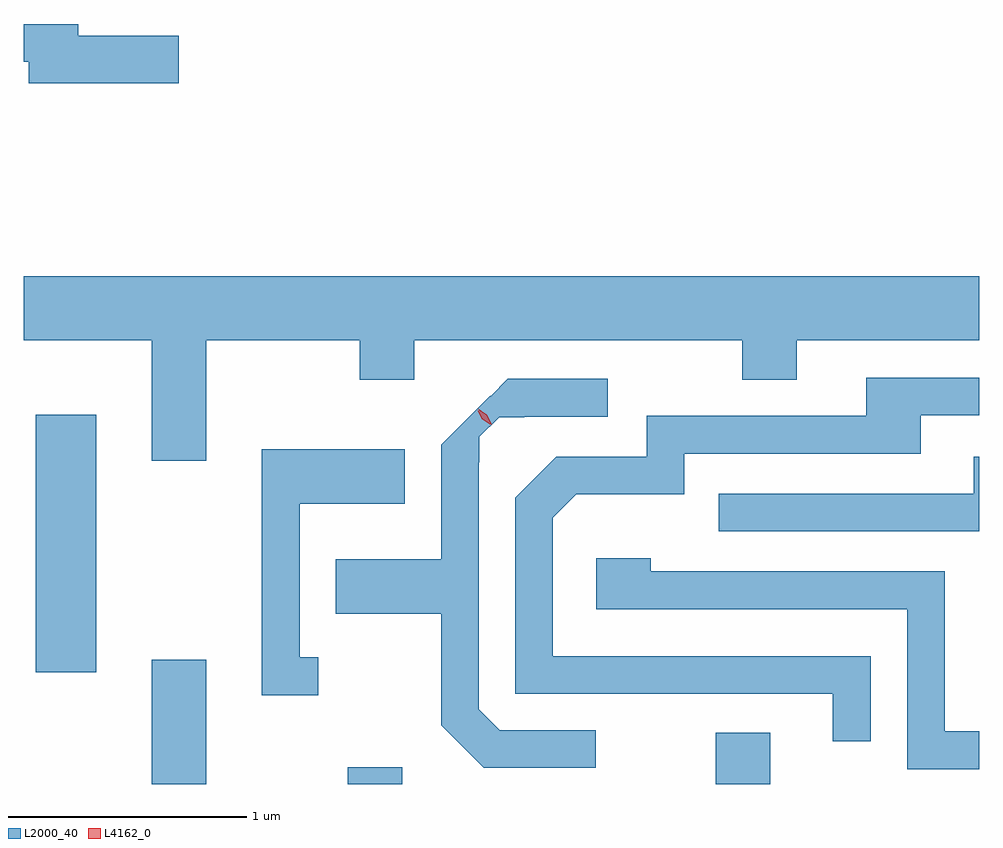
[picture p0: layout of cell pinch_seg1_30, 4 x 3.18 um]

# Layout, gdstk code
import gdstk
lib = gdstk.Library(unit=1e-6, precision=1e-09)
def R(c, l, rs):  # rectangles x0, y0, x1, y1
    for r in rs: c.add(gdstk.rectangle(r[:2], r[2:], *l))
def P(c, l, *ps):  # polygons
    for p in ps: c.add(gdstk.Polygon(p, *l))
L2000_40 = (2000, 40)
L4162_0 = (4162, 0)

pinch_seg1_30 = lib.new_cell('pinch_seg1_30')
R(pinch_seg1_30, L2000_40, [(1063.821,839.999,1064.049,840.519), (1064.641,839.999,1064.869,840.069), (1066.181,839.999,1066.409,840.214), (1063.336,840.466,1063.589,841.544)])
P(pinch_seg1_30, L2000_40, [(1063.934,843.129),(1063.514,843.129),(1063.514,843.179),(1063.284,843.179),(1063.284,843.021),(1063.306,843.021),(1063.306,842.931),(1063.934,842.931)],
  [(1064.049,841.856),(1064.691,841.856),(1064.691,841.691),(1064.919,841.691),(1064.919,841.856),(1066.291,841.856),(1066.291,841.691),(1066.519,841.691),(1066.519,841.856),(1067.284,841.856),(1067.284,842.124),(1063.284,842.124),(1063.284,841.856),(1063.821,841.856),(1063.821,841.351),(1064.049,841.351)],
  [(1066.829,840.534),(1065.499,840.534),(1065.499,841.114),(1065.597,841.211),(1066.049,841.211),(1066.049,841.381),(1067.039,841.381),(1067.039,841.541),(1067.284,841.541),(1067.284,841.699),(1066.811,841.699),(1066.811,841.539),(1065.891,841.539),(1065.891,841.369),(1065.514,841.369),(1065.341,841.197),(1065.341,840.376),(1066.671,840.376),(1066.671,840.178),(1066.829,840.178)],
  [(1065.678,840.224),(1065.277,840.224),(1065.189,840.312),(1065.189,841.345),(1065.191,841.345),(1065.191,841.451),(1065.275,841.534),(1065.38,841.534),(1065.38,841.536),(1065.728,841.536),(1065.728,841.694),(1065.311,841.694),(1065.238,841.621),(1065.236,841.624),(1065.031,841.419),(1065.031,840.939),(1064.591,840.939),(1064.591,840.711),(1065.031,840.711),(1065.031,840.244),(1065.209,840.066),(1065.678,840.066)],
  [(1064.518,840.529),(1064.439,840.529),(1064.439,841.171),(1064.879,841.171),(1064.879,841.399),(1064.281,841.399),(1064.281,840.371),(1064.518,840.371)],
  [(1067.284,841.369),(1067.261,841.369),(1067.261,841.214),(1066.193,841.214),(1066.193,841.056),(1067.284,841.056)],
  [(1067.284,840.219),(1067.139,840.219),(1067.139,840.889),(1065.909,840.889),(1065.909,840.944),(1065.681,840.944),(1065.681,840.731),(1066.981,840.731),(1066.981,840.061),(1067.284,840.061)])
P(pinch_seg1_30, L4162_0, [(1065.244,841.503),(1065.207,841.53),(1065.186,841.569),(1065.186,841.57),(1065.186,841.57),(1065.222,841.543),(1065.244,841.504),(1065.244,841.503)],
  [(1065.235,841.505),(1065.203,841.526),(1065.185,841.56),(1065.185,841.561),(1065.186,841.561),(1065.218,841.54),(1065.236,841.506),(1065.236,841.505)])

lib.write_gds('pinch_seg1_30.gds')
